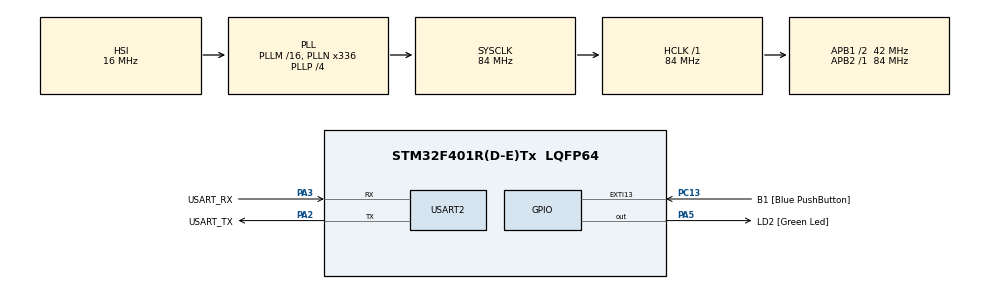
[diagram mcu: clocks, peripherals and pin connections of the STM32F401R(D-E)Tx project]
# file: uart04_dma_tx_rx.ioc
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Dma.Request0=USART2_RX
Dma.Request1=USART2_TX
Dma.USART2_RX.0.Direction=DMA_PERIPH_TO_MEMORY
Dma.USART2_RX.0.FIFOMode=DMA_FIFOMODE_DISABLE
Dma.USART2_RX.0.Instance=DMA1_Stream5
Dma.USART2_RX.0.MemDataAlignment=DMA_MDATAALIGN_BYTE
Dma.USART2_RX.0.MemInc=DMA_MINC_ENABLE
Dma.USART2_RX.0.Mode=DMA_NORMAL
Dma.USART2_RX.0.PeriphDataAlignment=DMA_PDATAALIGN_BYTE
Dma.USART2_RX.0.PeriphInc=DMA_PINC_DISABLE
Dma.USART2_RX.0.Priority=DMA_PRIORITY_LOW
Dma.USART2_TX.1.Direction=DMA_MEMORY_TO_PERIPH
Dma.USART2_TX.1.FIFOMode=DMA_FIFOMODE_DISABLE
Dma.USART2_TX.1.Instance=DMA1_Stream6
Dma.USART2_TX.1.MemDataAlignment=DMA_MDATAALIGN_BYTE
Dma.USART2_TX.1.MemInc=DMA_MINC_ENABLE
Dma.USART2_TX.1.Mode=DMA_NORMAL
Dma.USART2_TX.1.PeriphDataAlignment=DMA_PDATAALIGN_BYTE
Dma.USART2_TX.1.PeriphInc=DMA_PINC_DISABLE
Dma.USART2_TX.1.Priority=DMA_PRIORITY_LOW
Mcu.Family=STM32F4
Mcu.Name=STM32F401R(D-E)Tx
Mcu.Package=LQFP64
NVIC.DMA1_Stream5_IRQn=true\:0\:0\:false\:false\:true\:false\:true\:true
NVIC.DMA1_Stream6_IRQn=true\:0\:0\:false\:false\:true\:false\:true\:true
NVIC.PriorityGroup=NVIC_PRIORITYGROUP_4
NVIC.USART2_IRQn=true\:0\:0\:false\:false\:true\:true\:true\:true
PA13.GPIO_Label=TMS
PA13.Mode=Serial_Wire
PA13.Signal=SYS_JTMS-SWDIO
PA14.GPIO_Label=TCK
PA14.Mode=Serial_Wire
PA14.Signal=SYS_JTCK-SWCLK
PA2.GPIO_Label=USART_TX
PA2.GPIO_Mode=GPIO_MODE_AF_PP
PA2.GPIO_PuPd=GPIO_NOPULL
PA2.GPIO_Speed=GPIO_SPEED_FREQ_LOW
PA2.Mode=Asynchronous
PA2.Signal=USART2_TX
PA3.GPIO_Label=USART_RX
PA3.GPIO_Mode=GPIO_MODE_AF_PP
PA3.GPIO_PuPd=GPIO_NOPULL
PA3.GPIO_Speed=GPIO_SPEED_FREQ_LOW
PA3.Mode=Asynchronous
PA3.Signal=USART2_RX
PA5.GPIO_Label=LD2 [Green Led]
PA5.GPIO_Mode=GPIO_MODE_OUTPUT_PP
PA5.GPIO_PuPd=GPIO_NOPULL
PA5.GPIO_Speed=GPIO_SPEED_FREQ_LOW
PA5.Signal=GPIO_Output
PB3.GPIO_Label=SWO
PB3.Signal=SYS_JTDO-SWO
PC13-ANTI_TAMP.GPIO_Label=B1 [Blue PushButton]
PC13-ANTI_TAMP.GPIO_ModeDefaultEXTI=GPIO_MODE_IT_FALLING
PC13-ANTI_TAMP.GPIO_PuPd=GPIO_NOPULL
PC13-ANTI_TAMP.Signal=GPXTI13
PC14-OSC32_IN.Mode=LSE-External-Oscillator
PC14-OSC32_IN.Signal=RCC_OSC32_IN
PC15-OSC32_OUT.Mode=LSE-External-Oscillator
PC15-OSC32_OUT.Signal=RCC_OSC32_OUT
PH0\ -\ OSC_IN.Mode=HSE-External-Clock-Source
PH0\ -\ OSC_IN.Signal=RCC_OSC_IN
PH1\ -\ OSC_OUT.Mode=HSE-External-Clock-Source
PH1\ -\ OSC_OUT.Signal=RCC_OSC_OUT
ProjectManager.HeapSize=0x200
ProjectManager.StackSize=0x400
ProjectManager.TargetToolchain=CMake
RCC.48MHZClocksFreq_Value=48000000
RCC.AHBFreq_Value=84000000
RCC.APB1CLKDivider=RCC_HCLK_DIV2
RCC.APB1Freq_Value=42000000
RCC.APB1TimFreq_Value=84000000
RCC.APB2Freq_Value=84000000
RCC.APB2TimFreq_Value=84000000
RCC.CortexFreq_Value=84000000
RCC.HCLKFreq_Value=84000000
RCC.HSE_VALUE=8000000
RCC.HSI_VALUE=16000000
RCC.PLLN=336
RCC.PLLP=RCC_PLLP_DIV4
RCC.PLLQ=7
RCC.SYSCLKFreq_VALUE=84000000
RCC.SYSCLKSource=RCC_SYSCLKSOURCE_PLLCLK
RCC.VCOOutputFreq_Value=336000000
USART2.VirtualMode=VM_ASYNC
board=NUCLEO-F401RE

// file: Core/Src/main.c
/* USER CODE BEGIN Header */
/**
  ******************************************************************************
  * @file           : main.c
  * @brief          : Main program body
  ******************************************************************************
  * @attention
  * --------------------------------
  * UART RX/TX DMAの流れ
  * HAL_UARTEx_ReceiveToIdle_DMA()
  *  ↓
  * IDLE検出、または受信バッファ満杯
  *  ↓
  * HAL_UARTEx_RxEventCallback()
  *  ↓
  * main()でHAL_UART_Transmit_DMA()を開始
  *  ↓
  * HAL_UART_TxCpltCallback()
  *  ↓
  * 次のRX DMAを開始
  * --------------------------------
  *
  * Copyright (c) 2026 STMicroelectronics.
  * All rights reserved.
  *
  * This software is licensed under terms that can be found in the LICENSE file
  * in the root directory of this software component.
  * If no LICENSE file comes with this software, it is provided AS-IS.
  *
  ******************************************************************************
  */
/* USER CODE END Header */
#include "main.h"

/* USER CODE BEGIN PD */
#define UART_BUFFER_SIZE 64U

/* USER CODE END PD */

UART_HandleTypeDef huart2;
DMA_HandleTypeDef hdma_usart2_rx;
DMA_HandleTypeDef hdma_usart2_tx;

/* USER CODE BEGIN PV */
static uint8_t uart_buffer[UART_BUFFER_SIZE]; // DMAが受信データを書き込み、送信DMAが読み出すバッファ
static volatile uint16_t rx_length; // 今回の受信データ長。HAL_UARTEx_RxEventCallback()で設定される
static volatile uint8_t rx_ready; // 受信データを送信する準備ができたことを示すフラグ。HAL_UARTEx_RxEventCallback()で設定される
static volatile uint8_t tx_busy;  // 送信DMAが動作中であることを示すフラグ。HAL_UART_TxCpltCallback()でクリアされる
static volatile uint32_t main_loop_count; // main()のループ回数をカウントする変数。デバッグ用

/* USER CODE END PV */

void SystemClock_Config(void);
static void MX_GPIO_Init(void);
static void MX_DMA_Init(void);
static void MX_USART2_UART_Init(void);
/* USER CODE BEGIN PFP */
static void UART_StartReceiveToIdleDMA(void);

/* USER CODE END PFP */

/* USER CODE BEGIN 0 */
static void UART_StartReceiveToIdleDMA(void)
{
  // USART2のRX DMAを開始する。受信バッファが満杯になるか、IDLE検出でHAL_UARTEx_RxEventCallback()が呼ばれる。
  if (HAL_UARTEx_ReceiveToIdle_DMA(&huart2, uart_buffer, UART_BUFFER_SIZE) != HAL_OK)
  {
    Error_Handler();
  }

  /* このサンプルではIDLEまたはバッファ満杯でのみ通知する。 */
  __HAL_DMA_DISABLE_IT(huart2.hdmarx, DMA_IT_HT);
}

/* USER CODE END 0 */

int main(void)
{

  /* MCU Configuration--------------------------------------------------------*/

  /* Reset of all peripherals, Initializes the Flash interface and the Systick. */
  HAL_Init();

  /* Configure the system clock */
  SystemClock_Config();

  /* Initialize all configured peripherals */
  MX_GPIO_Init();
  MX_DMA_Init();
  MX_USART2_UART_Init();
  /* USER CODE BEGIN 2 */
  UART_StartReceiveToIdleDMA();

  /* USER CODE END 2 */

  /* Infinite loop */
  while (1)
  {

    /* USER CODE BEGIN 3 */
    main_loop_count++;
    // データが受信され、送信DMAが動作していない場合に、受信データを送信する。
    if ((rx_ready != 0U) && (tx_busy == 0U))
    {
      uint16_t length = rx_length;

      rx_ready = 0U;
      tx_busy = 1U;
      // DMAで受信したデータをDMAで送信する。送信完了後にHAL_UART_TxCpltCallback()が呼ばれる。
      if (HAL_UART_Transmit_DMA(&huart2, uart_buffer, length) != HAL_OK)
      {
        tx_busy = 0U;
        Error_Handler();
      }
    }
  }
  /* USER CODE END 3 */
}

void SystemClock_Config(void)
{
  RCC_OscInitTypeDef RCC_OscInitStruct = {0};
  RCC_ClkInitTypeDef RCC_ClkInitStruct = {0};

  /** Configure the main internal regulator output voltage
  */
  __HAL_RCC_PWR_CLK_ENABLE();
  __HAL_PWR_VOLTAGESCALING_CONFIG(PWR_REGULATOR_VOLTAGE_SCALE2);

  /** Initializes the RCC Oscillators according to the specified parameters
  * in the RCC_OscInitTypeDef structure.
  */
  RCC_OscInitStruct.OscillatorType = RCC_OSCILLATORTYPE_HSI;
  RCC_OscInitStruct.HSIState = RCC_HSI_ON;
  RCC_OscInitStruct.HSICalibrationValue = RCC_HSICALIBRATION_DEFAULT;
  RCC_OscInitStruct.PLL.PLLState = RCC_PLL_ON;
  RCC_OscInitStruct.PLL.PLLSource = RCC_PLLSOURCE_HSI;
  RCC_OscInitStruct.PLL.PLLM = 16;
  RCC_OscInitStruct.PLL.PLLN = 336;
  RCC_OscInitStruct.PLL.PLLP = RCC_PLLP_DIV4;
  RCC_OscInitStruct.PLL.PLLQ = 7;
  if (HAL_RCC_OscConfig(&RCC_OscInitStruct) != HAL_OK)
  {
    Error_Handler();
  }

  /** Initializes the CPU, AHB and APB buses clocks
  */
  RCC_ClkInitStruct.ClockType = RCC_CLOCKTYPE_HCLK|RCC_CLOCKTYPE_SYSCLK
                              |RCC_CLOCKTYPE_PCLK1|RCC_CLOCKTYPE_PCLK2;
  RCC_ClkInitStruct.SYSCLKSource = RCC_SYSCLKSOURCE_PLLCLK;
  RCC_ClkInitStruct.AHBCLKDivider = RCC_SYSCLK_DIV1;
  RCC_ClkInitStruct.APB1CLKDivider = RCC_HCLK_DIV2;
  RCC_ClkInitStruct.APB2CLKDivider = RCC_HCLK_DIV1;

  if (HAL_RCC_ClockConfig(&RCC_ClkInitStruct, FLASH_LATENCY_2) != HAL_OK)
  {
    Error_Handler();
  }
}

static void MX_USART2_UART_Init(void)
{

  huart2.Instance = USART2;
  huart2.Init.BaudRate = 115200;
  huart2.Init.WordLength = UART_WORDLENGTH_8B;
  huart2.Init.StopBits = UART_STOPBITS_1;
  huart2.Init.Parity = UART_PARITY_NONE;
  huart2.Init.Mode = UART_MODE_TX_RX;
  huart2.Init.HwFlowCtl = UART_HWCONTROL_NONE;
  huart2.Init.OverSampling = UART_OVERSAMPLING_16;
  if (HAL_UART_Init(&huart2) != HAL_OK)
  {
    Error_Handler();
  }

}

static void MX_DMA_Init(void)
{

  /* DMA controller clock enable */
  __HAL_RCC_DMA1_CLK_ENABLE();

  /* DMA interrupt init */
  /* DMA1_Stream5_IRQn interrupt configuration */
  HAL_NVIC_SetPriority(DMA1_Stream5_IRQn, 0, 0);
  HAL_NVIC_EnableIRQ(DMA1_Stream5_IRQn);
  /* DMA1_Stream6_IRQn interrupt configuration */
  HAL_NVIC_SetPriority(DMA1_Stream6_IRQn, 0, 0);
  HAL_NVIC_EnableIRQ(DMA1_Stream6_IRQn);

}

static void MX_GPIO_Init(void)
{
  GPIO_InitTypeDef GPIO_InitStruct = {0};

  /* GPIO Ports Clock Enable */
  __HAL_RCC_GPIOC_CLK_ENABLE();
  __HAL_RCC_GPIOH_CLK_ENABLE();
  __HAL_RCC_GPIOA_CLK_ENABLE();
  __HAL_RCC_GPIOB_CLK_ENABLE();

  /*Configure GPIO pin Output Level */
  HAL_GPIO_WritePin(LD2_GPIO_Port, LD2_Pin, GPIO_PIN_RESET);

  /*Configure GPIO pin : B1_Pin */
  GPIO_InitStruct.Pin = B1_Pin;
  GPIO_InitStruct.Mode = GPIO_MODE_IT_FALLING;
  GPIO_InitStruct.Pull = GPIO_NOPULL;
  HAL_GPIO_Init(B1_GPIO_Port, &GPIO_InitStruct);

  /*Configure GPIO pin : LD2_Pin */
  GPIO_InitStruct.Pin = LD2_Pin;
  GPIO_InitStruct.Mode = GPIO_MODE_OUTPUT_PP;
  GPIO_InitStruct.Pull = GPIO_NOPULL;
  GPIO_InitStruct.Speed = GPIO_SPEED_FREQ_LOW;
  HAL_GPIO_Init(LD2_GPIO_Port, &GPIO_InitStruct);

}

/* USER CODE BEGIN 4 */
void HAL_UARTEx_RxEventCallback(UART_HandleTypeDef *huart, uint16_t Size)
{
  if (huart->Instance == USART2)
  {
    // main()のループで送信するために、受信データ長とフラグを設定する。
    // コールバックを短くするために、受信データの処理はmain()で行う。
    rx_length = Size; // 今回受信したバイト数
    rx_ready = 1U;
  }
}
/*
 * 送信完了コールバック
 */
void HAL_UART_TxCpltCallback(UART_HandleTypeDef *huart)
{
  if (huart->Instance == USART2)
  {
    tx_busy = 0U; // 送信中解除
    HAL_GPIO_TogglePin(LD2_GPIO_Port, LD2_Pin); // 送信完了をLEDを点滅させて通知する
    UART_StartReceiveToIdleDMA(); // 次の受信DMAを開始する
  }
}

/* USER CODE END 4 */

void Error_Handler(void)
{
  __disable_irq();
  while (1)
  {
  }
}
